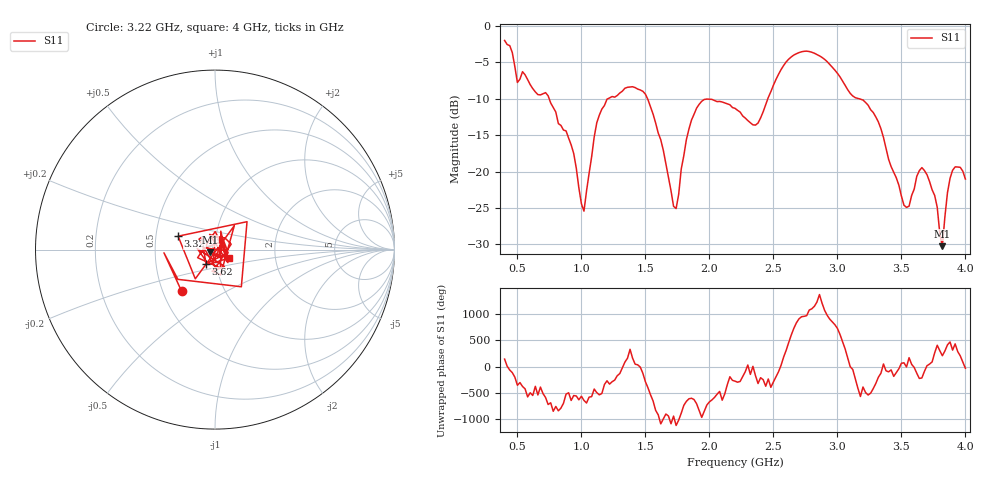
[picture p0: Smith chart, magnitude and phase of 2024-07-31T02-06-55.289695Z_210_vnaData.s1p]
!Created with skrf (http://scikit-rf.org).
# Hz S RI R 50.0
!freq ReS11 ImS11
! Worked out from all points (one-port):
!   181 points, 400 MHz to 4 GHz, reference 50 ohm
!   lowest |S11| = -30.2 dB at 3.82 GHz (marker M1), VSWR 1.06, Z = 47.3 - j1.39 ohm
!   |S11| at or under -10 dB: 747.7 MHz to 1.21 GHz (462.3 MHz wide, 47.2 % of centre); 1.516 GHz to 2.457 GHz (941 MHz wide, 47.4 % of centre); 3.165 GHz to end of sweep
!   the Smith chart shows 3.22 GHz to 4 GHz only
!   S11 on the Smith chart (normalised r, x): 3.22 GHz: 0.62, -0.32; 3.32 GHz: 0.65, +0.10; 3.62 GHz: 0.89, -0.14; 4 GHz: 1.16, -0.10
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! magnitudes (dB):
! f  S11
! 400 MHz  -2.0
! 500 MHz  -7.8
! 720 MHz  -9.2
! 860 MHz  -14.3
! 940 MHz  -17.5
! 1.02 GHz  -25.4
! 1.12 GHz  -13.3
! 1.3 GHz  -9.2
! 1.5 GHz  -9.4
! 1.62 GHz  -15.7
! 1.72 GHz  -24.8
! 1.76 GHz  -23.1
! 1.82 GHz  -15.6
! 1.9 GHz  -11.3
! 2.2 GHz  -11.3
! 2.38 GHz  -13.4
! 2.66 GHz  -4.0
! 2.88 GHz  -4.4
! 3.1 GHz  -9.3
! 3.22 GHz  -10.5
! 3.32 GHz  -13.2
! 3.56 GHz  -24.7
! 3.62 GHz  -20.7
! 3.76 GHz  -23.3
! 3.82 GHz  -30.2
! 3.86 GHz  -22.9
! 3.9 GHz  -19.8
! 4 GHz  -21.0
